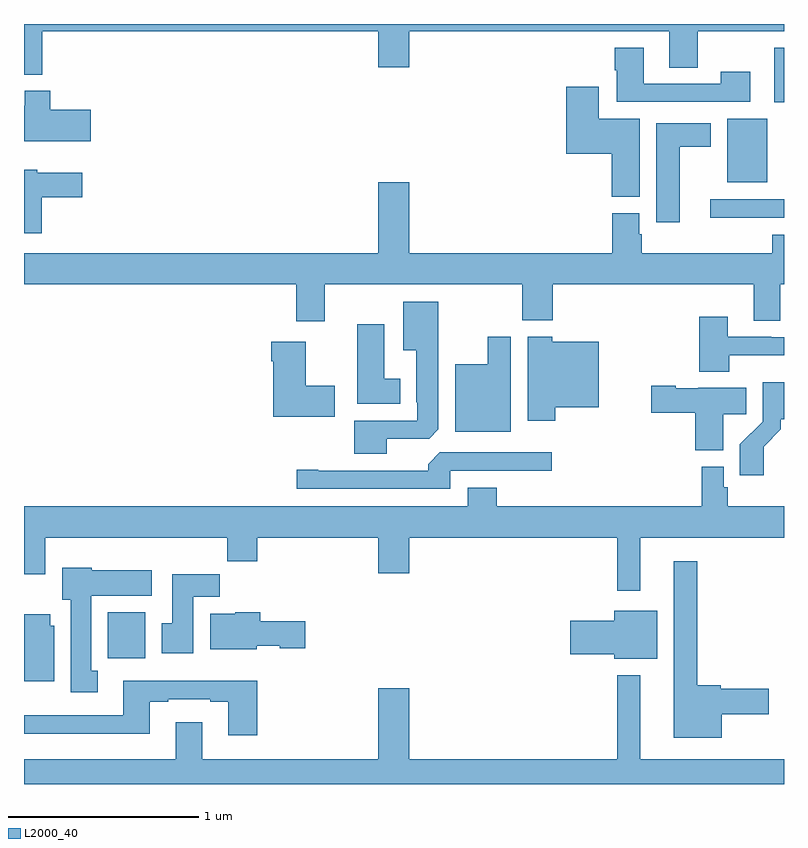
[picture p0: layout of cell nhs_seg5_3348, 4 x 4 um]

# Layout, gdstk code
import gdstk
lib = gdstk.Library(unit=1e-6, precision=1e-09)
def R(c, l, rs):  # rectangles x0, y0, x1, y1
    for r in rs: c.add(gdstk.rectangle(r[:2], r[2:], *l))
def P(c, l, *ps):  # polygons
    for p in ps: c.add(gdstk.Polygon(p, *l))
L2000_40 = (2000, 40)

nhs_seg5_3348 = lib.new_cell('nhs_seg5_3348')
R(nhs_seg5_3348, L2000_40, [(307.442,853.46,307.639,853.702), (310.611,855.779,311,855.876), (310.7,855.965,310.912,856.3), (310.949,856.388,311,856.675)])
P(nhs_seg5_3348, L2000_40, [(307.097,856.76),(308.864,856.76),(308.864,856.572),(309.028,856.572),(309.028,856.76),(310.397,856.76),(310.397,856.57),(310.545,856.57),(310.545,856.76),(311,856.76),(311,856.799),(307,856.799),(307,856.532),(307.097,856.532)],
  [(310.822,856.549),(310.666,856.549),(310.666,856.485),(310.261,856.485),(310.261,856.675),(310.109,856.675),(310.109,856.555),(310.121,856.555),(310.121,856.389),(310.822,856.389)],
  [(310.24,856.3),(310.024,856.3),(310.024,856.468),(309.854,856.468),(309.854,856.115),(310.094,856.115),(310.094,855.889),(310.24,855.889)],
  [(307.351,856.347),(307.139,856.347),(307.139,856.447),(307.004,856.447),(307.004,856.369),(307,856.369),(307,856.181),(307.351,856.181)],
  [(310.45,856.154),(310.615,856.154),(310.615,856.276),(310.328,856.276),(310.328,855.756),(310.45,855.756)],
  [(307.094,855.886),(307.306,855.886),(307.306,856.015),(307.071,856.015),(307.071,856.033),(307,856.033),(307,855.699),(307.094,855.699)],
  [(308.584,855.428),(309.622,855.428),(309.622,855.239),(309.782,855.239),(309.782,855.428),(310.841,855.428),(310.841,855.238),(310.98,855.238),(310.98,855.428),(311,855.428),(311,855.691),(310.937,855.691),(310.937,855.592),(310.25,855.592),(310.25,855.693),(310.237,855.693),(310.237,855.804),(310.097,855.804),(310.097,855.592),(309.028,855.592),(309.028,855.967),(308.864,855.967),(308.864,855.592),(307,855.592),(307,855.428),(308.432,855.428),(308.432,855.234),(308.584,855.234)],
  [(308.908,854.616),(309.132,854.616),(309.181,854.665),(309.181,855.337),(308.996,855.337),(308.996,855.083),(309.065,855.083),(309.065,854.809),(309.069,854.809),(309.069,854.712),(308.738,854.712),(308.738,854.537),(308.908,854.537)],
  [(310.713,855.056),(311,855.056),(311,855.15),(310.934,855.15),(310.934,855.153),(310.705,855.153),(310.705,855.259),(310.553,855.259),(310.553,854.969),(310.713,854.969)],
  [(308.98,854.932),(308.896,854.932),(308.896,855.22),(308.753,855.22),(308.753,854.801),(308.98,854.801)],
  [(309.797,854.783),(310.024,854.783),(310.024,855.127),(309.78,855.127),(309.78,855.154),(309.65,855.154),(309.65,854.712),(309.797,854.712)],
  [(309.562,855.154),(309.44,855.154),(309.44,855.007),(309.269,855.007),(309.269,854.654),(309.562,854.654)],
  [(308.635,854.895),(308.482,854.895),(308.482,855.127),(308.3,855.127),(308.3,855.023),(308.312,855.023),(308.312,854.732),(308.635,854.732)],
  [(310.894,854.575),(310.984,854.665),(310.984,854.72),(311,854.72),(311,854.914),(310.887,854.914),(310.887,854.705),(310.768,854.586),(310.768,854.424),(310.894,854.424)],
  [(310.681,854.746),(310.802,854.746),(310.802,854.884),(310.548,854.884),(310.548,854.881),(310.431,854.881),(310.431,854.894),(310.302,854.894),(310.302,854.752),(310.532,854.752),(310.532,854.555),(310.681,854.555)],
  [(309.243,854.448),(309.778,854.448),(309.778,854.544),(309.189,854.544),(309.128,854.482),(309.128,854.448),(308.548,854.448),(308.548,854.453),(308.436,854.453),(308.436,854.352),(309.243,854.352)],
  [(310.243,854.096),(311,854.096),(311,854.26),(310.703,854.26),(310.703,854.361),(310.683,854.361),(310.683,854.47),(310.567,854.47),(310.567,854.26),(309.488,854.26),(309.488,854.359),(309.335,854.359),(309.335,854.26),(307,854.26),(307,853.902),(307.111,853.902),(307.111,854.096),(308.071,854.096),(308.071,853.972),(308.228,853.972),(308.228,854.096),(308.864,854.096),(308.864,853.908),(309.028,853.908),(309.028,854.096),(310.122,854.096),(310.122,853.815),(310.243,853.815)],
  [(310.672,853.166),(310.921,853.166),(310.921,853.301),(310.668,853.301),(310.668,853.319),(310.543,853.319),(310.543,853.972),(310.421,853.972),(310.421,853.043),(310.672,853.043)],
  [(307.387,853.394),(307.354,853.394),(307.354,853.79),(307.672,853.79),(307.672,853.924),(307.356,853.924),(307.356,853.936),(307.202,853.936),(307.202,853.77),(307.247,853.77),(307.247,853.281),(307.387,853.281)],
  [(307.891,853.784),(308.03,853.784),(308.03,853.903),(307.781,853.903),(307.781,853.644),(307.724,853.644),(307.724,853.488),(307.891,853.488)],
  [(310.333,853.711),(310.106,853.711),(310.106,853.659),(309.876,853.659),(309.876,853.481),(310.106,853.481),(310.106,853.457),(310.333,853.457)],
  [(308.226,853.526),(308.346,853.526),(308.346,853.514),(308.479,853.514),(308.479,853.656),(308.243,853.656),(308.243,853.702),(308.112,853.702),(308.112,853.696),(307.979,853.696),(307.979,853.508),(308.226,853.508)],
  [(307.159,853.632),(307.138,853.632),(307.138,853.693),(307,853.693),(307,853.34),(307.159,853.34)],
  [(311,852.928),(310.243,852.928),(310.243,853.372),(310.122,853.372),(310.122,852.928),(309.028,852.928),(309.028,853.303),(308.864,853.303),(308.864,852.928),(307.939,852.928),(307.939,853.123),(307.799,853.123),(307.799,852.928),(307,852.928),(307,852.799),(311,852.799)],
  [(308.228,853.342),(307.523,853.342),(307.523,853.161),(307,853.161),(307,853.064),(307.663,853.064),(307.663,853.233),(307.759,853.233),(307.759,853.245),(307.979,853.245),(307.979,853.233),(308.075,853.233),(308.075,853.056),(308.228,853.056)])

lib.write_gds('nhs_seg5_3348.gds')
